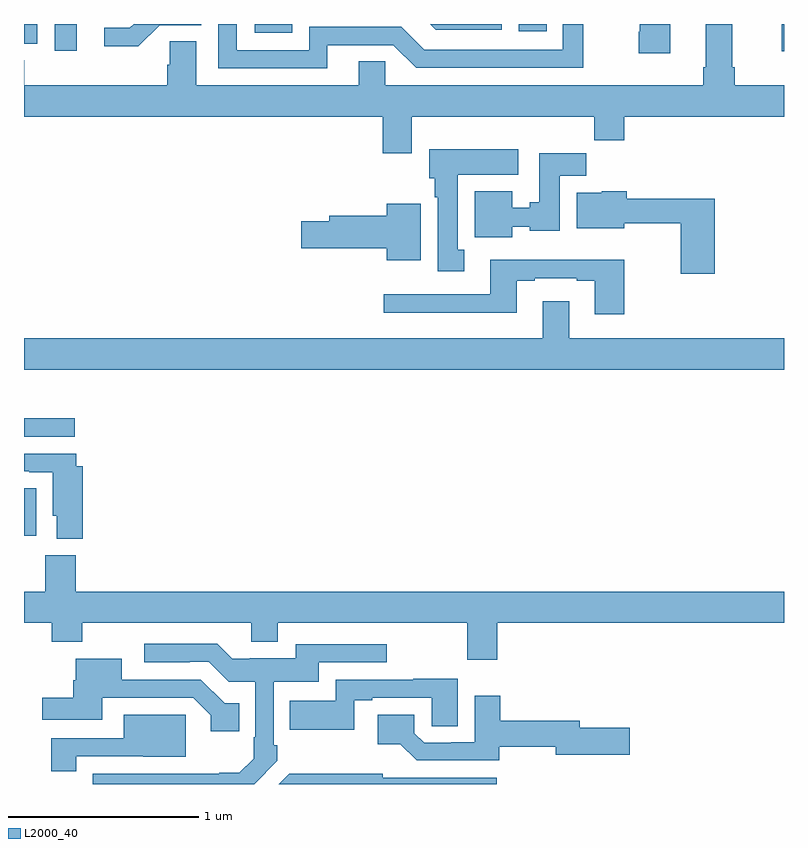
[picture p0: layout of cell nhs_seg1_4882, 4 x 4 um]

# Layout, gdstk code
import gdstk
lib = gdstk.Library(unit=1e-6, precision=1e-09)
def R(c, l, rs):  # rectangles x0, y0, x1, y1
    for r in rs: c.add(gdstk.rectangle(r[:2], r[2:], *l))
def P(c, l, *ps):  # polygons
    for p in ps: c.add(gdstk.Polygon(p, *l))
L2000_40 = (2000, 40)

nhs_seg1_4882 = lib.new_cell('nhs_seg1_4882')
R(nhs_seg1_4882, L2000_40, [(375,569.506,375.064,569.756), (375,570.027,375.268,570.123), (378.988,572.055,379,572.199), (375.162,572.058,375.277,572.199), (375,572.094,375.069,572.199), (376.215,572.153,376.413,572.199), (377.604,572.16,377.75,572.199)])
P(nhs_seg1_4882, L2000_40, [(375.714,572.193),(375.933,572.193),(375.933,572.199),(375.578,572.199),(375.557,572.178),(375.423,572.178),(375.423,572.081),(375.601,572.081)],
  [(378.4,572.199),(378.242,572.199),(378.242,572.158),(378.235,572.158),(378.235,572.046),(378.4,572.046)],
  [(376.597,572.088),(376.944,572.088),(377.064,571.968),(377.944,571.968),(377.944,572.199),(377.835,572.199),(377.835,572.064),(377.106,572.064),(376.986,572.184),(376.5,572.184),(376.5,572.061),(376.119,572.061),(376.119,572.199),(376.023,572.199),(376.023,571.965),(376.597,571.965)],
  [(377.514,572.199),(377.138,572.199),(377.168,572.169),(377.514,572.169)],
  [(377.041,571.712),(378.001,571.712),(378.001,571.588),(378.158,571.588),(378.158,571.712),(379,571.712),(379,571.876),(378.74,571.876),(378.74,571.972),(378.727,571.972),(378.727,572.199),(378.587,572.199),(378.587,571.972),(378.575,571.972),(378.575,571.876),(376.902,571.876),(376.902,572.003),(376.763,572.003),(376.763,571.876),(375.907,571.876),(375.907,572.108),(375.768,572.108),(375.768,571.985),(375.755,571.985),(375.755,571.876),(375.002,571.876),(375.002,572.009),(375,572.009),(375,571.712),(376.889,571.712),(376.889,571.518),(377.041,571.518)],
  [(377.317,571.01),(377.284,571.01),(377.284,571.406),(377.602,571.406),(377.602,571.54),(377.132,571.54),(377.132,571.386),(377.162,571.386),(377.162,571.286),(377.177,571.286),(377.177,570.897),(377.317,570.897)],
  [(377.569,571.133),(377.661,571.133),(377.661,571.112),(377.821,571.112),(377.821,571.4),(377.96,571.4),(377.96,571.519),(377.711,571.519),(377.711,571.26),(377.661,571.26),(377.661,571.231),(377.569,571.231),(377.569,571.318),(377.372,571.318),(377.372,571.076),(377.569,571.076)],
  [(378.635,571.279),(378.173,571.279),(378.173,571.318),(378.042,571.318),(378.042,571.312),(377.909,571.312),(377.909,571.124),(378.16,571.124),(378.16,571.15),(378.457,571.15),(378.457,570.885),(378.635,570.885)],
  [(377.089,571.252),(376.91,571.252),(376.91,571.19),(376.607,571.19),(376.607,571.16),(376.458,571.16),(376.458,571.018),(376.91,571.018),(376.91,570.956),(377.089,570.956)],
  [(378.158,570.958),(377.453,570.958),(377.453,570.777),(376.893,570.777),(376.893,570.68),(377.593,570.68),(377.593,570.849),(377.689,570.849),(377.689,570.861),(377.909,570.861),(377.909,570.849),(378.005,570.849),(378.005,570.672),(378.158,570.672)],
  [(379,570.544),(377.869,570.544),(377.869,570.739),(377.729,570.739),(377.729,570.544),(375,570.544),(375,570.38),(379,570.38)],
  [(375.308,569.871),(375.274,569.871),(375.274,569.937),(375,569.937),(375,569.844),(375.028,569.844),(375.028,569.841),(375.152,569.841),(375.152,569.61),(375.173,569.61),(375.173,569.489),(375.308,569.489)],
  [(377.492,569.048),(379,569.048),(379,569.212),(375.272,569.212),(375.272,569.404),(375.112,569.404),(375.112,569.212),(375,569.212),(375,569.048),(375.146,569.048),(375.146,568.949),(375.306,568.949),(375.306,569.048),(376.196,569.048),(376.196,568.949),(376.336,568.949),(376.336,569.048),(377.332,569.048),(377.332,568.854),(377.492,568.854)],
  [(376.334,568.321),(376.334,568.402),(376.314,568.402),(376.314,568.736),(376.552,568.736),(376.552,568.839),(376.909,568.839),(376.909,568.935),(376.43,568.935),(376.43,568.861),(376.189,568.861),(376.189,568.857),(376.095,568.857),(376.016,568.936),(375.633,568.936),(375.633,568.839),(375.872,568.839),(375.872,568.842),(375.972,568.842),(376.077,568.737),(376.218,568.737),(376.218,568.444),(376.208,568.444),(376.208,568.332),(376.132,568.257),(376.028,568.257),(376.028,568.254),(375.363,568.254),(375.363,568.199),(376.212,568.199)],
  [(376.133,568.624),(376.056,568.624),(375.931,568.749),(375.514,568.749),(375.514,568.858),(375.272,568.858),(375.272,568.746),(375.26,568.746),(375.26,568.652),(375.096,568.652),(375.096,568.538),(375.412,568.538),(375.412,568.653),(375.891,568.653),(375.983,568.561),(375.983,568.476),(376.133,568.476)],
  [(376.737,568.641),(376.834,568.641),(376.834,568.653),(377.145,568.653),(377.145,568.504),(377.284,568.504),(377.284,568.754),(377.048,568.754),(377.048,568.749),(376.641,568.749),(376.641,568.636),(376.399,568.636),(376.399,568.484),(376.737,568.484)],
  [(377.502,568.396),(377.798,568.396),(377.798,568.354),(378.187,568.354),(378.187,568.496),(377.926,568.496),(377.926,568.532),(377.507,568.532),(377.507,568.663),(377.372,568.663),(377.372,568.419),(377.248,568.419),(377.248,568.416),(377.106,568.416),(377.055,568.467),(377.055,568.564),(376.863,568.564),(376.863,568.409),(376.98,568.409),(377.066,568.323),(377.502,568.323)],
  [(375.274,568.344),(375.628,568.344),(375.628,568.343),(375.85,568.343),(375.85,568.564),(375.524,568.564),(375.524,568.44),(375.144,568.44),(375.144,568.266),(375.274,568.266)],
  [(377.488,568.233),(376.887,568.233),(376.887,568.254),(376.395,568.254),(376.34,568.199),(377.488,568.199)])

lib.write_gds('nhs_seg1_4882.gds')
